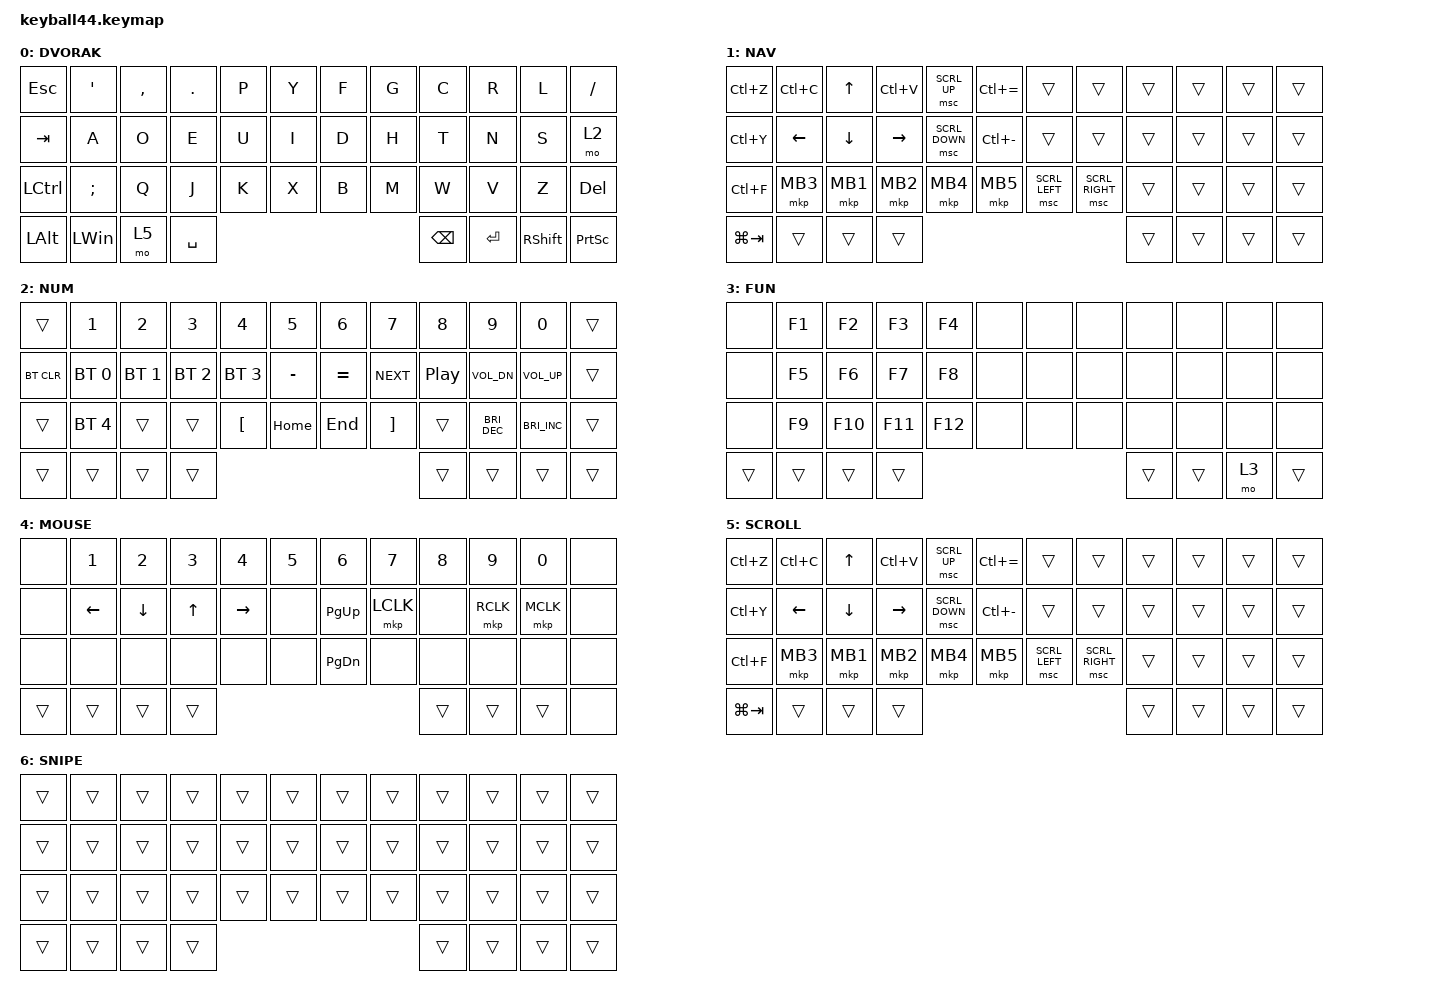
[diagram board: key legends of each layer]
#define DEFAULT 0
#define NUM     1
#define SYM     2
#define FUN     3
#define MOUSE   4
#define SCROLL  5
#define SNIPE   6

#include <behaviors/mouse_keys.dtsi>
#include <dt-bindings/zmk/mouse.h>
#include <behaviors.dtsi>
#include <dt-bindings/zmk/bt.h>
#include <dt-bindings/zmk/keys.h>
#include <dt-bindings/zmk/pointing.h>

&lt {
    tapping-term-ms = <240>;
    flavor = "balanced";
    quick-tap-ms = <150>;
};

&mt {
    tapping-term-ms = <200>;
    flavor = "tap-preferred";
    quick-tap-ms = <150>;
};

&caps_word { continue-list = <UNDERSCORE MINUS>; };

/ {
    // custom shift using mod-morph

    behaviors {
        cmqus: comma_question {
            compatible = "zmk,behavior-mod-morph";
            label = "COMMA_QUESTION";
            #binding-cells = <0>;
            bindings = <&kp COMMA>, <&kp QUESTION>;

            mods = <(MOD_LSFT|MOD_RSFT)>;
        };

        dtsmi: dot_semi {
            compatible = "zmk,behavior-mod-morph";
            label = "DOT_SEMI";
            #binding-cells = <0>;
            bindings = <&kp DOT>, <&kp SEMI>;

            mods = <(MOD_LSFT|MOD_RSFT)>;
        };
    };

    keymap {
        compatible = "zmk,keymap";

        default_layer {
            label = "DVORAK";
            bindings = <
&kp ESCAPE    &kp SQT       &kp COMMA  &kp DOT    &kp P     &kp Y               &kp F      &kp G  &kp C  &kp R  &kp L  &kp FSLH
&kp TAB       &kp A         &kp O      &kp E      &kp U     &kp I               &kp D      &kp H  &kp T  &kp N  &kp S  &mo 2
&kp LCTRL     &kp SEMI      &kp Q      &kp J      &kp K     &kp X               &kp B      &kp M  &kp W  &kp V  &kp Z  &kp DELETE
&kp LEFT_ALT  &kp LEFT_WIN  &mo 5      &kp SPACE  &kp BSPC             &kp RET  &kp RSHFT                              &kp PRINTSCREEN
            >;
        };

        nav_layer {
            label = "NAV";
            bindings = <
&kp LC(Z)    &kp LC(C)       &kp UP_ARROW  &kp LC(V)  &msc SCRL_UP    &kp LC(EQUAL)              &trans          &trans           &trans  &trans  &trans  &trans
&kp LC(Y)    &kp LEFT_ARROW  &kp DOWN      &kp RIGHT  &msc SCRL_DOWN  &kp LC(MINUS)              &trans          &trans           &trans  &trans  &trans  &trans
&kp LC(F)    &mkp MB3        &mkp MB1      &mkp MB2   &mkp MB4        &mkp MB5                   &msc SCRL_LEFT  &msc SCRL_RIGHT  &trans  &trans  &trans  &trans
&kp LG(TAB)  &trans          &trans        &trans     &trans                                     &trans  &trans                                           &trans
            >;
        };

        number_layer {
            label = "NUM";
            bindings = <
&trans      &kp NUMBER_1  &kp NUMBER_2  &kp NUMBER_3  &kp NUMBER_4      &kp N5                 &kp NUMBER_6  &kp N7             &kp N8            &kp N9                &kp N0                &trans
&bt BT_CLR  &bt BT_SEL 0  &bt BT_SEL 1  &bt BT_SEL 2  &bt BT_SEL 3      &kp MINUS              &kp EQUAL     &kp C_NEXT         &kp C_PLAY_PAUSE  &kp C_VOL_DN          &kp C_VOL_UP          &trans
&trans      &bt BT_SEL 4  &trans        &trans        &kp LEFT_BRACKET  &kp HOME               &kp END       &kp RIGHT_BRACKET  &trans            &kp C_BRIGHTNESS_DEC  &kp C_BRIGHTNESS_INC  &trans
&trans      &trans        &trans        &trans        &trans                           &trans  &trans                                                                                         &trans
            >;
        };

        function_layer {
            label = "FUN";
            bindings = <
&none   &kp F1  &kp F2   &kp F3   &kp F4   &none              &none  &none  &none  &none  &none  &none
&none   &kp F5  &kp F6   &kp F7   &kp F8   &none              &none  &none  &none  &none  &none  &none
&none   &kp F9  &kp F10  &kp F11  &kp F12  &none              &none  &none  &none  &none  &none  &none
&trans  &trans  &trans   &trans   &trans              &trans  &mo 3                              &trans
            >;
        };

        mouse_layer {
            label = "MOUSE";
            bindings = <
&none   &kp N1          &kp N2          &kp N3        &kp N4     &kp N5              &kp N6         &kp N7     &kp N8  &kp N9     &kp N0     &none
&none   &kp LEFT_ARROW  &kp DOWN_ARROW  &kp UP_ARROW  &kp RIGHT  &none               &kp PAGE_UP    &mkp LCLK  &none   &mkp RCLK  &mkp MCLK  &none
&none   &none           &none           &none         &none      &none               &kp PAGE_DOWN  &none      &none   &none      &none      &none
&trans  &trans          &trans          &trans        &trans                 &trans  &trans                                                  &none
            >;
        };

        scroll_layer {
            label = "SCROLL";
            bindings = <
&kp LC(Z)    &kp LC(C)       &kp UP_ARROW  &kp LC(V)  &msc SCRL_UP    &kp LC(EQUAL)              &trans          &trans           &trans  &trans  &trans  &trans
&kp LC(Y)    &kp LEFT_ARROW  &kp DOWN      &kp RIGHT  &msc SCRL_DOWN  &kp LC(MINUS)              &trans          &trans           &trans  &trans  &trans  &trans
&kp LC(F)    &mkp MB3        &mkp MB1      &mkp MB2   &mkp MB4        &mkp MB5                   &msc SCRL_LEFT  &msc SCRL_RIGHT  &trans  &trans  &trans  &trans
&kp LG(TAB)  &trans          &trans        &trans     &trans                             &trans  &trans                                                   &trans
            >;
        };

        snipe_layer {
            label = "SNIPE";
            bindings = <
&trans  &trans  &trans  &trans  &trans  &trans              &trans  &trans  &trans  &trans  &trans  &trans
&trans  &trans  &trans  &trans  &trans  &trans              &trans  &trans  &trans  &trans  &trans  &trans
&trans  &trans  &trans  &trans  &trans  &trans              &trans  &trans  &trans  &trans  &trans  &trans
&trans  &trans  &trans  &trans  &trans              &trans  &trans                                  &trans
            >;
        };
    };
};
